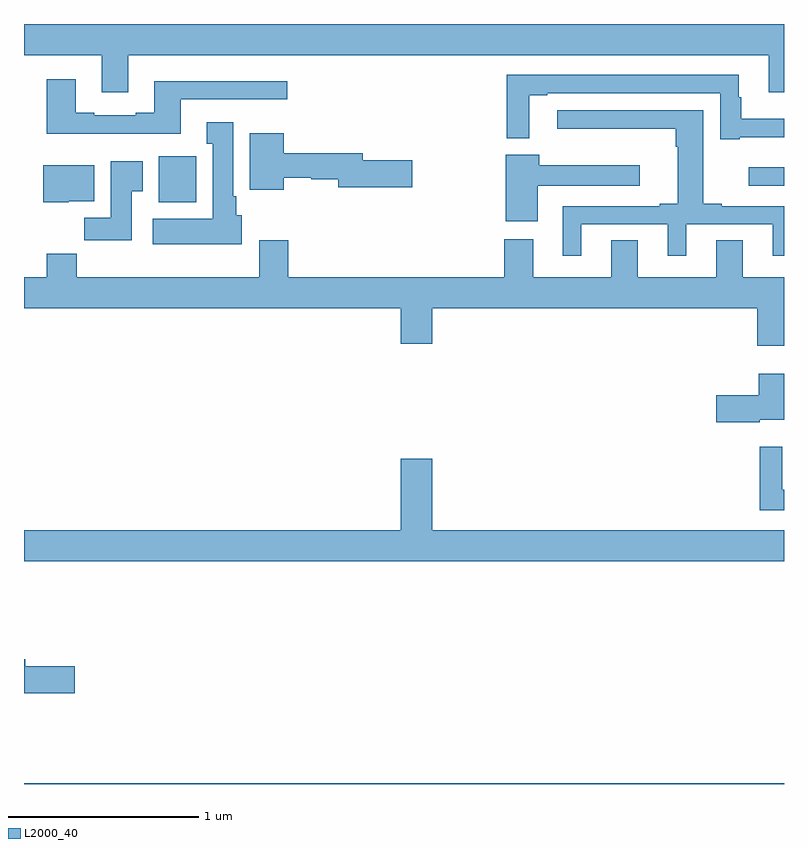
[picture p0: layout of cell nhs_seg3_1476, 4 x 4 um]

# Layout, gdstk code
import gdstk
lib = gdstk.Library(unit=1e-6, precision=1e-09)
def R(c, l, rs):  # rectangles x0, y0, x1, y1
    for r in rs: c.add(gdstk.rectangle(r[:2], r[2:], *l))
def P(c, l, *ps):  # polygons
    for p in ps: c.add(gdstk.Polygon(p, *l))
L2000_40 = (2000, 40)

nhs_seg3_1476 = lib.new_cell('nhs_seg3_1476')
R(nhs_seg3_1476, L2000_40, [(187,710.4,191,710.404), (187.709,713.462,187.906,713.704), (190.815,713.55,191,713.647)])
P(nhs_seg3_1476, L2000_40, [(187.549,714.236),(190.919,714.236),(190.919,714.042),(191,714.042),(191,714.4),(187,714.4),(187,714.236),(187.409,714.236),(187.409,714.042),(187.549,714.042)],
  [(190.768,713.804),(191,713.804),(191,713.902),(190.774,713.902),(190.774,714.014),(190.762,714.014),(190.762,714.132),(189.541,714.132),(189.541,713.799),(189.658,713.799),(189.658,714.024),(189.754,714.024),(189.754,714.036),(190.665,714.036),(190.665,713.793),(190.768,713.793)],
  [(187.825,714.003),(188.386,714.003),(188.386,714.1),(187.685,714.1),(187.685,713.932),(187.589,713.932),(187.589,713.919),(187.369,713.919),(187.369,713.932),(187.273,713.932),(187.273,714.109),(187.121,714.109),(187.121,713.822),(187.825,713.822)],
  [(189.934,713.346),(190.388,713.346),(190.388,713.181),(190.486,713.181),(190.486,713.346),(190.94,713.346),(190.94,713.181),(191,713.181),(191,713.442),(190.672,713.442),(190.672,713.455),(190.576,713.455),(190.576,713.946),(189.807,713.946),(189.807,713.849),(190.43,713.849),(190.43,713.753),(190.442,713.753),(190.442,713.455),(190.346,713.455),(190.346,713.442),(189.836,713.442),(189.836,713.181),(189.934,713.181)],
  [(188.146,713.394),(188.116,713.394),(188.116,713.494),(188.101,713.494),(188.101,713.884),(187.961,713.884),(187.961,713.771),(187.994,713.771),(187.994,713.374),(187.677,713.374),(187.677,713.24),(188.146,713.24)],
  [(188.368,713.592),(188.511,713.592),(188.511,713.584),(188.654,713.584),(188.654,713.542),(189.043,713.542),(189.043,713.684),(188.782,713.684),(188.782,713.72),(188.368,713.72),(188.368,713.824),(188.189,713.824),(188.189,713.528),(188.368,713.528)],
  [(189.703,713.549),(190.24,713.549),(190.24,713.656),(189.713,713.656),(189.713,713.713),(189.536,713.713),(189.536,713.361),(189.703,713.361)],
  [(187.567,713.521),(187.624,713.521),(187.624,713.677),(187.457,713.677),(187.457,713.38),(187.318,713.38),(187.318,713.262),(187.567,713.262)],
  [(187.236,713.468),(187.369,713.468),(187.369,713.656),(187.1,713.656),(187.1,713.462),(187.236,713.462)],
  [(191,713.068),(190.783,713.068),(190.783,713.261),(190.643,713.261),(190.643,713.068),(190.231,713.068),(190.231,713.261),(190.091,713.261),(190.091,713.068),(189.679,713.068),(189.679,713.266),(189.527,713.266),(189.527,713.068),(188.39,713.068),(188.39,713.263),(188.237,713.263),(188.237,713.068),(187.277,713.068),(187.277,713.192),(187.121,713.192),(187.121,713.068),(187,713.068),(187,712.904),(188.984,712.904),(188.984,712.716),(189.148,712.716),(189.148,712.904),(190.859,712.904),(190.859,712.707),(191,712.707)],
  [(190.872,712.316),(191,712.316),(191,712.558),(190.868,712.558),(190.868,712.446),(190.644,712.446),(190.644,712.304),(190.872,712.304)],
  [(191,711.949),(190.99,711.949),(190.99,712.174),(190.873,712.174),(190.873,711.84),(191,711.84)],
  [(191,711.736),(189.148,711.736),(189.148,712.111),(188.984,712.111),(188.984,711.736),(187,711.736),(187,711.572),(191,711.572)],
  [(187.267,711.02),(187.006,711.02),(187.006,711.056),(187,711.056),(187,710.878),(187.267,710.878)])

lib.write_gds('nhs_seg3_1476.gds')
